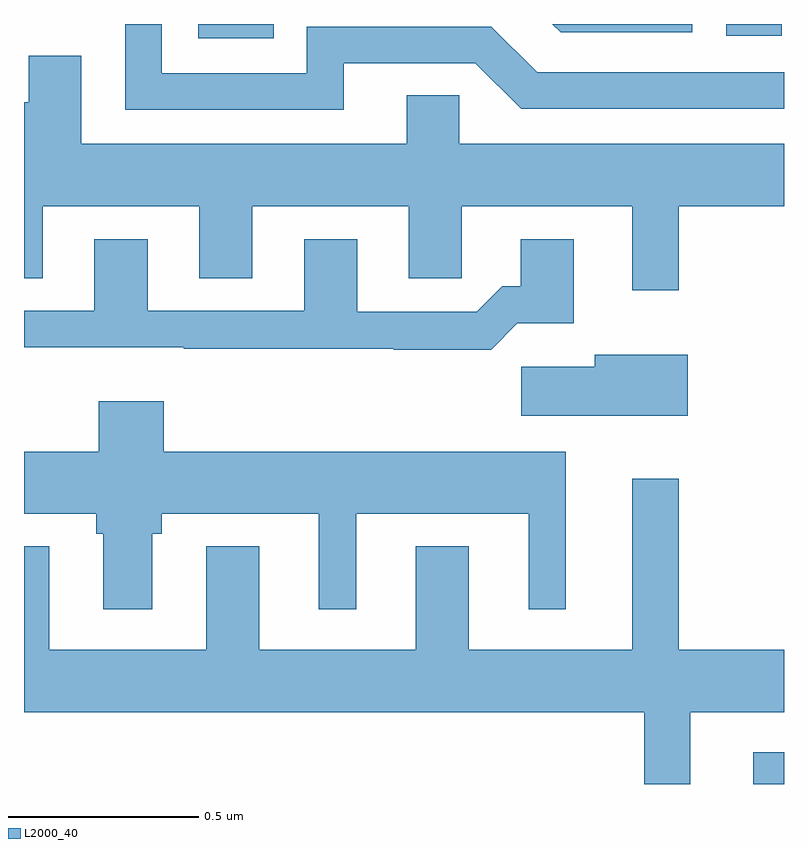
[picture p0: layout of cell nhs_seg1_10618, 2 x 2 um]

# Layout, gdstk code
import gdstk
lib = gdstk.Library(unit=1e-6, precision=1e-09)
def R(c, l, rs):  # rectangles x0, y0, x1, y1
    for r in rs: c.add(gdstk.rectangle(r[:2], r[2:], *l))
def P(c, l, *ps):  # polygons
    for p in ps: c.add(gdstk.Polygon(p, *l))
L2000_40 = (2000, 40)

nhs_seg1_10618 = lib.new_cell('nhs_seg1_10618')
R(nhs_seg1_10618, L2000_40, [(244.919,562.199,245,562.282), (243.459,564.161,243.657,564.199), (244.848,564.168,244.994,564.199)])
P(nhs_seg1_10618, L2000_40, [(243.841,564.096),(244.188,564.096),(244.308,563.976),(245,563.976),(245,564.072),(244.35,564.072),(244.23,564.192),(243.744,564.192),(243.744,564.069),(243.363,564.069),(243.363,564.199),(243.267,564.199),(243.267,563.973),(243.841,563.973)],
  [(244.758,564.199),(244.39,564.199),(244.412,564.177),(244.758,564.177)],
  [(243.012,564.116),(243.012,563.993),(243,563.993),(243,563.53),(243.049,563.53),(243.049,563.72),(243.461,563.72),(243.461,563.53),(243.601,563.53),(243.601,563.72),(244.013,563.72),(244.013,563.53),(244.152,563.53),(244.152,563.72),(244.601,563.72),(244.601,563.499),(244.723,563.499),(244.723,563.72),(245,563.72),(245,563.884),(244.146,563.884),(244.146,564.011),(244.007,564.011),(244.007,563.884),(243.151,563.884),(243.151,564.116)],
  [(244.298,563.411),(244.447,563.411),(244.447,563.632),(244.307,563.632),(244.307,563.509),(244.258,563.509),(244.191,563.442),(243.877,563.442),(243.877,563.632),(243.737,563.632),(243.737,563.445),(243.325,563.445),(243.325,563.632),(243.185,563.632),(243.185,563.445),(243,563.445),(243,563.348),(243.421,563.348),(243.421,563.344),(243.973,563.344),(243.973,563.342),(244.229,563.342)],
  [(244.747,563.329),(244.502,563.329),(244.502,563.297),(244.308,563.297),(244.308,563.168),(244.747,563.168)],
  [(243.337,562.857),(243.363,562.857),(243.363,562.91),(243.776,562.91),(243.776,562.659),(243.874,562.659),(243.874,562.91),(244.328,562.91),(244.328,562.659),(244.426,562.659),(244.426,563.074),(243.368,563.074),(243.368,563.206),(243.197,563.206),(243.197,563.074),(243,563.074),(243,562.91),(243.19,562.91),(243.19,562.857),(243.209,562.857),(243.209,562.659),(243.337,562.659)],
  [(244.753,562.388),(245,562.388),(245,562.552),(244.723,562.552),(244.723,563.002),(244.601,563.002),(244.601,562.552),(244.171,562.552),(244.171,562.825),(244.031,562.825),(244.031,562.552),(243.619,562.552),(243.619,562.825),(243.479,562.825),(243.479,562.552),(243.067,562.552),(243.067,562.825),(243,562.825),(243,562.388),(244.632,562.388),(244.632,562.199),(244.753,562.199)])

lib.write_gds('nhs_seg1_10618.gds')
